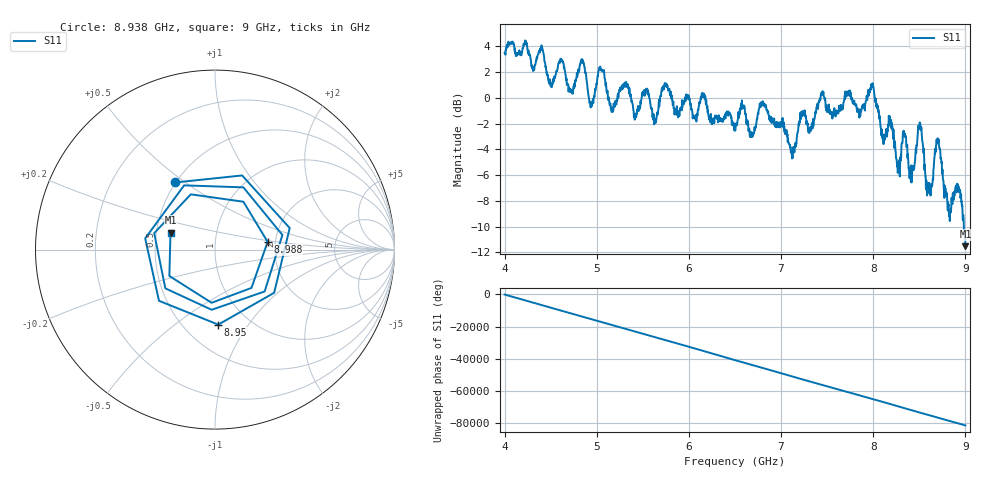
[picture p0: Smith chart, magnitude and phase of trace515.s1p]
! Created with skrf 1.8.0 (http://scikit-rf.org).
# Hz S RI R 50.0
!freq ReS11 ImS11
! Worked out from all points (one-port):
!   1601 points, 4 GHz to 9 GHz, reference 50 ohm
!   lowest |S11| = -11.5 dB at 9 GHz (marker M1), VSWR 1.72, Z = 29.7 + j6.08 ohm
!   |S11| at or under -10 dB: 8.98328 GHz to end of sweep
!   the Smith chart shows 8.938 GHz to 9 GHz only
!   S11 on the Smith chart (normalised r, x): 8.938 GHz: 0.50, +0.46; 8.95 GHz: 0.72, -0.73; 8.988 GHz: 1.82, +0.17; 9 GHz: 0.59, +0.12
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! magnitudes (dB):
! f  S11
! 4 GHz  3.5
! 4.4 GHz  4.1
! 4.497 GHz  1.0
! 4.625 GHz  2.9
! 4.719 GHz  0.6
! 4.847 GHz  2.9
! 4.938 GHz  -0.4
! 5.041 GHz  2.2
! 5.162 GHz  -1.1
! 5.25 GHz  0.5
! 5.875 GHz  -1.1
! 6.5 GHz  -2.1
! 6.809 GHz  -0.4
! 7.125 GHz  -4.7
! 7.234 GHz  -1.2
! 7.75 GHz  0.1
! 7.988 GHz  1.1
! 8.106 GHz  -3.3
! 8.375 GHz  -4.4
! 8.419 GHz  -5.6
! 8.506 GHz  -1.9
! 8.597 GHz  -7.2
! 8.7 GHz  -3.1
! 8.819 GHz  -8.3
! 8.938 GHz  -7.2
! 8.95 GHz  -7.6
! 8.988 GHz  -10.6
! 9 GHz  -11.5
